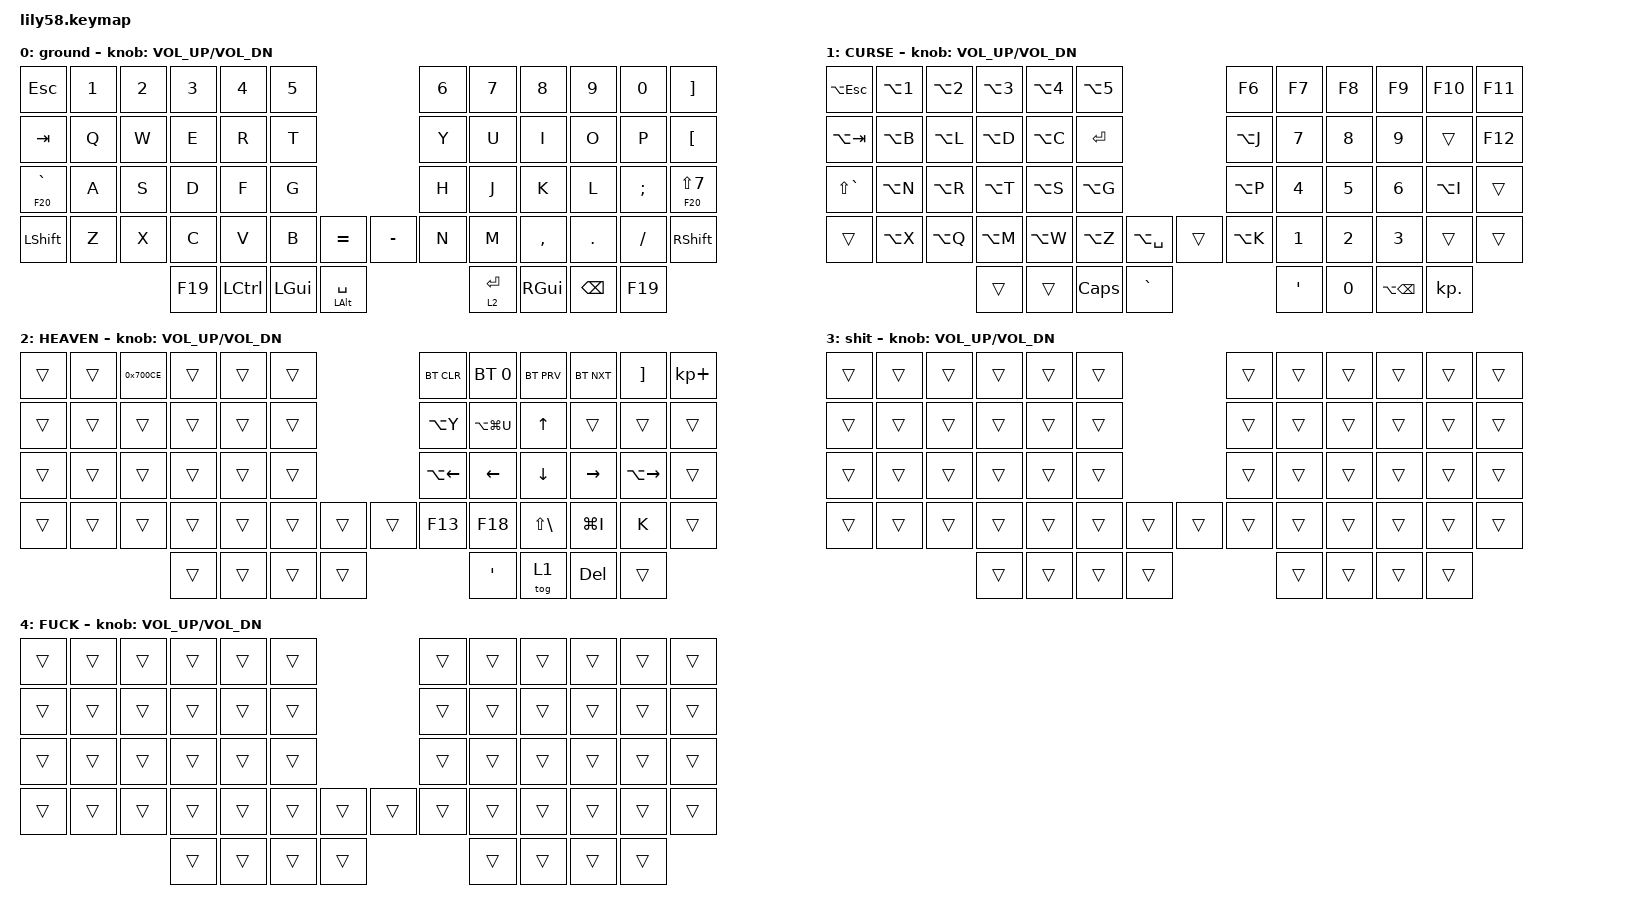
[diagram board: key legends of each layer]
/*
 * Copyright (c) 2020 The ZMK Contributors
 *
 * SPDX-License-Identifier: MIT
 *
 * MIRROR of the live board. The source of truth is ZMK Studio's saved state
 * on the board, which overrides these defaults even after a reflash. Keep it
 * true with `tools/zmkctl.py verify`; a Studio GUI edit never reaches this
 * file. Cells are QWERTY scancodes; Karabiner makes them Gallium, chords
 * included. See CLAUDE.md and docs/.
 */

#include <behaviors.dtsi>
#include <dt-bindings/zmk/keys.h>
#include <dt-bindings/zmk/bt.h>

/ {
    behaviors {
        // Behavior ids come from this order and Studio's saved bindings
        // reference them: append new behaviors at the end, never prune or
        // reorder. gtog* and motog are unbound and stay for that reason.
        gtog: gui_tap_toggle {
            compatible = "zmk,behavior-hold-tap";
            #binding-cells = <2>;
            flavor = "balanced";
            tapping-term-ms = <200>;
            bindings = <&kp>, <&tog>;
        };
        gtog180: gui_tap_toggle_180 {
            compatible = "zmk,behavior-hold-tap";
            #binding-cells = <2>;
            flavor = "balanced";
            tapping-term-ms = <180>;
            bindings = <&kp>, <&tog>;
        };
        gtog160: gui_tap_toggle_160 {
            compatible = "zmk,behavior-hold-tap";
            #binding-cells = <2>;
            flavor = "balanced";
            tapping-term-ms = <160>;
            bindings = <&kp>, <&tog>;
        };
        gtog140: gui_tap_toggle_140 {
            compatible = "zmk,behavior-hold-tap";
            #binding-cells = <2>;
            flavor = "balanced";
            tapping-term-ms = <140>;
            bindings = <&kp>, <&tog>;
        };
        // Layer hold-tap ladder: same balanced behavior at five terms, so tuning
        // a hold is a rebind over RPC, never a build (docs/board.md).
        ltb200: layer_tap_balanced_200 {
            compatible = "zmk,behavior-hold-tap";
            #binding-cells = <2>;
            flavor = "balanced";
            tapping-term-ms = <200>;
            quick-tap-ms = <200>;
            bindings = <&mo>, <&kp>;
        };
        ltb240: layer_tap_balanced_240 {
            compatible = "zmk,behavior-hold-tap";
            #binding-cells = <2>;
            flavor = "balanced";
            tapping-term-ms = <240>;
            quick-tap-ms = <200>;
            bindings = <&mo>, <&kp>;
        };
        ltb280: layer_tap_balanced_280 {
            compatible = "zmk,behavior-hold-tap";
            #binding-cells = <2>;
            flavor = "balanced";
            tapping-term-ms = <280>;
            quick-tap-ms = <200>;
            bindings = <&mo>, <&kp>;
        };
        ltb320: layer_tap_balanced_320 {
            compatible = "zmk,behavior-hold-tap";
            #binding-cells = <2>;
            flavor = "balanced";
            tapping-term-ms = <320>;
            quick-tap-ms = <200>;
            bindings = <&mo>, <&kp>;
        };
        ltb360: layer_tap_balanced_360 {
            compatible = "zmk,behavior-hold-tap";
            #binding-cells = <2>;
            flavor = "balanced";
            tapping-term-ms = <360>;
            quick-tap-ms = <200>;
            bindings = <&mo>, <&kp>;
        };
        motog: momentary_tap_toggle {
            compatible = "zmk,behavior-hold-tap";
            #binding-cells = <2>;
            flavor = "balanced";
            tapping-term-ms = <200>;
            bindings = <&mo>, <&tog>;
        };
        // Mod hold-tap ladder, same regime. Space = mtb280 LALT SPACE, pinkies mtb280 F20.
        mtb240: mod_tap_balanced_240 {
            compatible = "zmk,behavior-hold-tap";
            #binding-cells = <2>;
            flavor = "balanced";
            tapping-term-ms = <240>;
            quick-tap-ms = <200>;
            bindings = <&kp>, <&kp>;
        };
        mtb280: mod_tap_balanced_280 {
            compatible = "zmk,behavior-hold-tap";
            #binding-cells = <2>;
            flavor = "balanced";
            tapping-term-ms = <280>;
            quick-tap-ms = <200>;
            bindings = <&kp>, <&kp>;
        };
        mtb320: mod_tap_balanced_320 {
            compatible = "zmk,behavior-hold-tap";
            #binding-cells = <2>;
            flavor = "balanced";
            tapping-term-ms = <320>;
            quick-tap-ms = <200>;
            bindings = <&kp>, <&kp>;
        };
        // Hold-preferred ladders: any other key while held is the hold, at once;
        // a press within the prior-idle window of the last key is a tap on
        // press. The ladder is on the idle window, the term stays 280.
        mtp100: mod_tap_preferred_idle_100 {
            compatible = "zmk,behavior-hold-tap";
            #binding-cells = <2>;
            flavor = "hold-preferred";
            tapping-term-ms = <280>;
            quick-tap-ms = <200>;
            require-prior-idle-ms = <100>;
            bindings = <&kp>, <&kp>;
        };
        mtp150: mod_tap_preferred_idle_150 {
            compatible = "zmk,behavior-hold-tap";
            #binding-cells = <2>;
            flavor = "hold-preferred";
            tapping-term-ms = <280>;
            quick-tap-ms = <200>;
            require-prior-idle-ms = <150>;
            bindings = <&kp>, <&kp>;
        };
        mtp200: mod_tap_preferred_idle_200 {
            compatible = "zmk,behavior-hold-tap";
            #binding-cells = <2>;
            flavor = "hold-preferred";
            tapping-term-ms = <280>;
            quick-tap-ms = <200>;
            require-prior-idle-ms = <200>;
            bindings = <&kp>, <&kp>;
        };
        ltp100: layer_tap_preferred_idle_100 {
            compatible = "zmk,behavior-hold-tap";
            #binding-cells = <2>;
            flavor = "hold-preferred";
            tapping-term-ms = <280>;
            quick-tap-ms = <200>;
            require-prior-idle-ms = <100>;
            bindings = <&mo>, <&kp>;
        };
        ltp150: layer_tap_preferred_idle_150 {
            compatible = "zmk,behavior-hold-tap";
            #binding-cells = <2>;
            flavor = "hold-preferred";
            tapping-term-ms = <280>;
            quick-tap-ms = <200>;
            require-prior-idle-ms = <150>;
            bindings = <&mo>, <&kp>;
        };
        ltp200: layer_tap_preferred_idle_200 {
            compatible = "zmk,behavior-hold-tap";
            #binding-cells = <2>;
            flavor = "hold-preferred";
            tapping-term-ms = <280>;
            quick-tap-ms = <200>;
            require-prior-idle-ms = <200>;
            bindings = <&mo>, <&kp>;
        };
        // Space alone: balanced so a roll off it stays a tap, the idle window
        // kept, the term short so a held Space is alt quickly.
        mtbi200: mod_tap_balanced_200_idle_150 {
            compatible = "zmk,behavior-hold-tap";
            #binding-cells = <2>;
            flavor = "balanced";
            tapping-term-ms = <200>;
            quick-tap-ms = <200>;
            require-prior-idle-ms = <150>;
            bindings = <&kp>, <&kp>;
        };
        // the OLEDs: the next pattern on the left / right screen (oled/fw). node
        // names stay under 9 chars, the split hands them to the peripheral by name.
        scr_l: scr_l {
            compatible = "zmk,behavior-screen-next";
            #binding-cells = <0>;
            side = <0>;
            display-name = "Left Screen";
        };
        scr_r: scr_r {
            compatible = "zmk,behavior-screen-next";
            #binding-cells = <0>;
            side = <1>;
            display-name = "Right Screen";
        };
        // never bound: the central forwards its own presses through it, so the
        // right OLED hears the left hand too (oled/fw/behavior_screen_key.c)
        scr_k: scr_k {
            compatible = "zmk,behavior-screen-key";
            #binding-cells = <0>;
        };
    };

    keymap {
        compatible = "zmk,keymap";

        default_layer {
// ------------------------------------------------------------------------------------------------------------
// |  ESC  |  1  |  2  |  3   |  4   |  5   |                   |  6   |  7    |  8    |  9   |   0   |   ]   |
// |  TAB  |  Q  |  W  |  E   |  R   |  T   |                   |  Y   |  U    |  I    |  O   |   P   |   [   |
// | ~/FUCK|  A  |  S  |  D   |  F   |  G   |                   |  H   |  J    |  K    |  L   |   ;   |?/FUCK |
// | SHIFT |  Z  |  X  |  C   |  V   |  B   |   =    |  |   -   |  N   |  M    |  ,    |  .   |   /   | SHIFT |
//                      | SHIT |LCTRL | LGUI |SPC/ALT |  |RET/HVN| RGUI | BSPC  | SHIT  |
//
// the screens switch on fuck+1 (left) and fuck+0 (right), watched in oled/fw/screen.c.
// pos 35 '?' is LS(N7), the ЙЦУКЕН chord on one key; Karabiner's EN-gated
// shift+7 -> ? covers English. It had to be a modifier seat: every symbol
// seat is a live Cyrillic letter under ЙЦУКЕН.
            display-name = "ground";
            bindings = <
&kp ESC   &kp N1 &kp N2 &kp N3   &kp N4   &kp N5                        &kp N6 &kp N7   &kp N8    &kp N9  &kp N0   &kp RBKT
&kp TAB   &kp Q  &kp W  &kp E    &kp R    &kp T                         &kp Y  &kp U    &kp I     &kp O   &kp P    &kp LBKT
&mtb280 F20 GRAVE &kp A &kp S &kp D &kp F  &kp G                         &kp H  &kp J    &kp K     &kp L   &kp SEMI &mtb280 F20 LS(N7)
&kp LSHFT &kp Z  &kp X  &kp C    &kp V    &kp B  &kp EQUAL   &kp MINUS  &kp N  &kp M    &kp COMMA &kp DOT &kp FSLH &kp RSHFT
                        &kp F19  &kp LCTRL &kp LGUI &mtb280 LALT SPACE &ltb280 2 RET &kp RGUI &kp BSPC &kp F19
            >;

            sensor-bindings = <&inc_dec_kp C_VOL_UP C_VOL_DN>;
        };

        curse_layer {
// Dead weight: no hold door, reachable only through HEAVEN's &tog 1 (pos 55).
// Its alt cells and numpad went redundant when Space became a real alt and
// Karabiner took the numpad.
            display-name = "CURSE";
            bindings = <
&kp LA(ESC) &kp LA(N1) &kp LA(N2) &kp LA(N3)    &kp LA(N4) &kp LA(N5)                         &kp F6  &kp F7 &kp F8 &kp F9 &kp F10 &kp F11
&kp LA(TAB) &kp LA(B)  &kp LA(L)  &kp LA(D)     &kp LA(C)  &kp RET                        &kp LA(J) &kp N7 &kp N8 &kp N9 &trans  &kp F12
&kp LS(GRAVE) &kp LA(N)  &kp LA(R)  &kp LA(T)     &kp LA(S)  &kp LA(G)                      &kp LA(P) &kp N4 &kp N5 &kp N6 &kp LA(I) &trans
&trans      &kp LA(X)  &kp LA(Q)  &kp LA(M)     &kp LA(W)  &kp LA(Z) &kp LA(SPACE) &trans &kp LA(K) &kp N1 &kp N2 &kp N3 &trans  &trans
                                  &trans        &trans     &kp CAPS  &kp GRAVE     &kp SQT &kp N0 &kp LA(BSPC) &kp KP_DOT
            >;

            sensor-bindings = <&inc_dec_kp C_VOL_UP C_VOL_DN>;
        };

        heaven_layer {
// ------------------------------------------------------------------------------------------------------------
// |       |     | KP@ |      |      |      |                   |BT_CLR|BT_SEL0|BT_PRV |BT_NXT|   ]   |  KP+  |
// |       |     |     |      |      |      |                   |LA(Y) |LA+LG(U)|  ^   |      |       |       |
// |       |     |     |      |      |      |                   |LA(<-)|  <-   |   v   |  ->  |LA(->) |       |
// |       |     |     |      |      |      |        |  |       | F13  |  F18  |   |   |LG(I) |   K   |       |
//                      |      |      |      |    `   |  |   '   | tog1 |  DEL  |       |
//
// Door: Enter held (pos 54). pos 2 is a bare 0xCE (Keypad @), ignored by macOS.
            display-name = "HEAVEN";
            bindings = <
&trans  &trans  &kp 0x700CE &trans &trans &trans                &bt BT_CLR   &bt BT_SEL 0 &bt BT_PRV  &bt BT_NXT   &kp RBKT &kp KP_PLUS
&trans  &trans  &trans  &trans &trans &trans                    &kp LA(Y)    &kp LA(LG(U)) &kp UP     &trans       &trans &trans
&trans  &trans  &trans  &trans &trans &trans                    &kp LA(LEFT) &kp LEFT     &kp DOWN    &kp RIGHT    &kp LA(RIGHT) &trans
&trans  &trans  &trans  &trans &trans &trans &trans   &trans    &kp F13      &kp F18      &kp LS(BSLH) &kp LG(I)   &kp K  &trans
                        &trans &trans &trans &trans      &kp SQT   &tog 1     &kp DEL      &trans
            >;

            sensor-bindings = <&inc_dec_kp C_VOL_UP C_VOL_DN>;
        };

        shit_layer {
// Empty. The doors (outer thumbs 50, 57) no longer open it: they send F19,
// which hyprshit's shitd reads as its own modifier, shit (config/keys there),
// and the mini's keyd as its [shit] layer. Kept so slot ids stay.
            display-name = "shit";
            bindings = <
&trans &trans &trans &trans &trans &trans &trans &trans &trans &trans &trans &trans
&trans &trans &trans &trans &trans &trans &trans &trans &trans &trans &trans &trans
&trans &trans &trans &trans &trans &trans &trans &trans &trans &trans &trans &trans
&trans &trans &trans &trans &trans &trans &trans &trans &trans &trans &trans &trans &trans &trans
                     &trans    &trans    &trans &trans    &trans  &trans &trans &trans
            >;

            sensor-bindings = <&inc_dec_kp C_VOL_UP C_VOL_DN>;
        };

        fuck_layer {
// Empty. The doors (pos 24, pos 35) no longer open it: they hold F20 (mtb280),
// and hyprshit's shitd reads held F20 as its own modifier, fuck (config/keys
// there); the mini's keyd reads it as a layer of its own. Kept so slot ids stay.
            display-name = "FUCK";
            bindings = <
&trans &trans &trans &trans &trans &trans &trans &trans &trans &trans &trans &trans
&trans &trans &trans &trans &trans &trans &trans &trans &trans &trans &trans &trans
&trans &trans &trans &trans &trans &trans &trans &trans &trans &trans &trans &trans
&trans &trans &trans &trans &trans &trans &trans &trans &trans &trans &trans &trans &trans &trans
                  &trans &trans &trans &trans                 &trans   &trans &trans &trans
            >;

            sensor-bindings = <&inc_dec_kp C_VOL_UP C_VOL_DN>;
        };
    };
};
